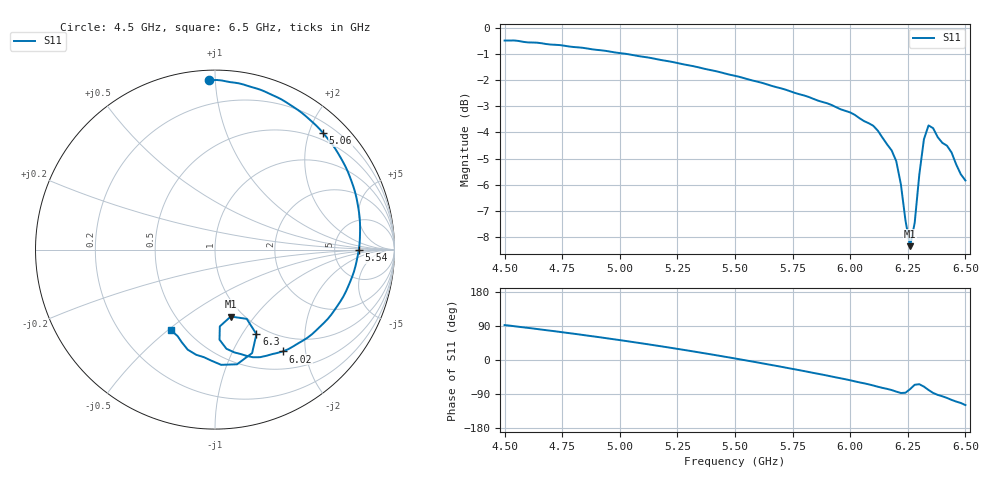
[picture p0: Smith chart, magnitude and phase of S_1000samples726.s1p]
! TOUCHSTONE file generated by CST MICROWAVE STUDIO
! Date and time: Sat Oct 29 04:16:40 2022
! Project name: L.cst
! Parameters = {Di=1.27; Epsilon_r=1.56; InnerDiameter=1.27; Length=2; Lf=10; Lg=60; OuterConductorThickness=0.2921; OuterDiameter=3.6; Wf=3; Wp=41.2; de=1.5; df=6.8; g=0.8; gx=2.14759; gy=4.09547; h=2.34; hf=1.524; px=10.3395; py=14.4123; w=9.7; wx=8.19187; wy=10.3168}
! Header version: 2018
! Port assignment regex: !\s*Touchstone port\s*([0-9]+)\s*=\s*(CST MWS port|CST DS port)\s*([0-9]+|Zmin|Zmax)\s*\(\"(.*)\"\)(\s*mode\s*([0-9]+))?.*
! Touchstone port assignment:
! Touchstone port 1 = CST MWS port 1 ("")
# GHz S DB R 50
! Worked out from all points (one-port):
!   101 points, 4.5 GHz to 6.5 GHz, reference 50 ohm
!   lowest |S11| = -8.3 dB at 6.26 GHz (marker M1), VSWR 2.24, Z = 43.9 - j38.4 ohm
!   |S11| at or under -10 dB: nowhere
!   S11 on the Smith chart (normalised r, x): 4.5 GHz: 0.05, +0.96; 5.06 GHz: 0.37, +2.24; 5.54 GHz: 9.03, -0.19; 6.02 GHz: 0.75, -1.60; 6.3 GHz: 0.89, -1.16; 6.5 GHz: 0.42, -0.51
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4.5  -0.49 92.2
4.64  -0.58 81.9
4.76  -0.69 72.5
4.9  -0.85 61.1
5  -0.97 52.5
5.06  -1.05 47.1
5.26  -1.37 28.4
5.38  -1.60 16.5
5.5  -1.84 4.1
5.54  -1.93 -0.3
5.64  -2.17 -11.2
5.76  -2.49 -24.7
5.88  -2.84 -38.6
6  -3.24 -53.6
6.02  -3.33 -56.4
6.1  -3.74 -67.3
6.18  -4.69 -79.3
6.2  -5.10 -83.4
6.22  -5.98 -87.1
6.24  -7.36 -86.4
6.26  -8.34 -76.8
6.28  -7.44 -65.4
6.3  -5.60 -63.9
6.32  -4.26 -70.3
6.34  -3.73 -79.1
6.36  -3.84 -86.9
6.42  -4.50 -100.1
6.5  -5.83 -119.0
